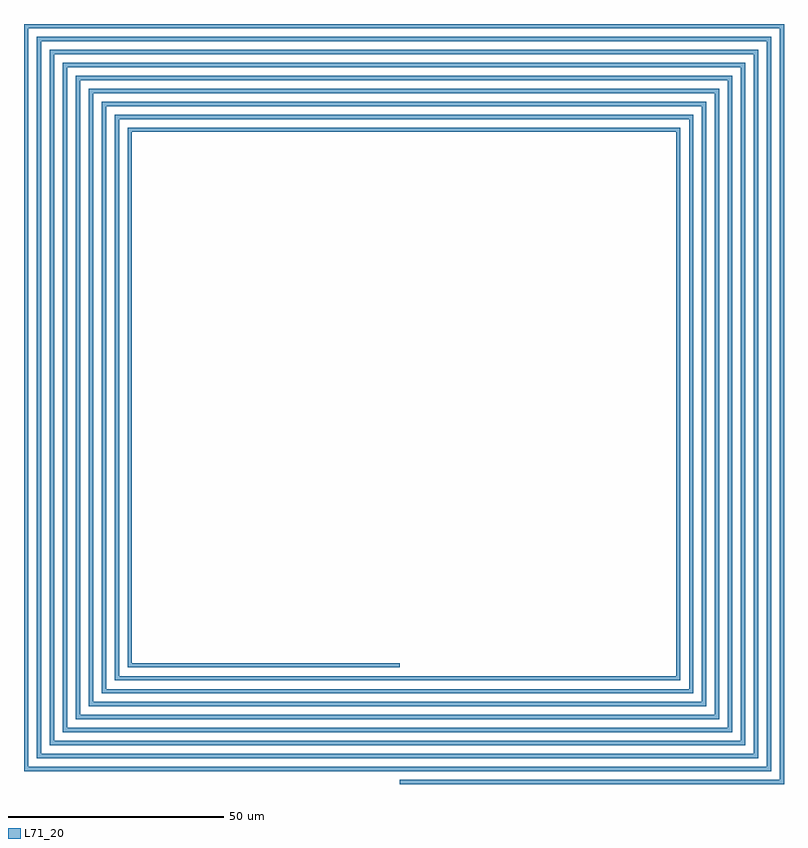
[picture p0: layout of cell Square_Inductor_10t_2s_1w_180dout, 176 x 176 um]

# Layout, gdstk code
import gdstk
lib = gdstk.Library(unit=1e-6, precision=1e-09)
def R(c, l, rs):  # rectangles x0, y0, x1, y1
    for r in rs: c.add(gdstk.rectangle(r[:2], r[2:], *l))
L71_20 = (71, 20)

square_inductor_10t_2s_1 = lib.new_cell('Square_Inductor_10t_2s_1w_180dout')
R(square_inductor_10t_2s_1, L71_20, [(61.7,-26.9,150.7,-25.9), (149.7,-25.9,150.7,148.1), (-25.3,-23.9,147.7,-22.9), (-25.3,-22.9,-24.3,148.1), (146.7,-22.9,147.7,145.1), (-22.3,-20.9,144.7,-19.9), (-22.3,-19.9,-21.3,145.1), (143.7,-19.9,144.7,142.1), (-19.3,-17.9,141.7,-16.9), (-19.3,-16.9,-18.3,142.1), (140.7,-16.9,141.7,139.1), (-16.3,-14.9,138.7,-13.9), (-16.3,-13.9,-15.3,139.1), (137.7,-13.9,138.7,136.1), (-13.3,-11.9,135.7,-10.9), (-13.3,-10.9,-12.3,136.1), (134.7,-10.9,135.7,133.1), (-10.3,-8.9,132.7,-7.9), (-10.3,-7.9,-9.3,133.1), (131.7,-7.9,132.7,130.1), (-7.3,-5.9,129.7,-4.9), (-7.3,-4.9,-6.3,130.1), (128.7,-4.9,129.7,127.1), (-4.3,-2.9,126.7,-1.9), (-4.3,-1.9,-3.3,127.1), (125.7,-1.9,126.7,124.1), (-1.3,0.1,61.7,1.1), (-1.3,1.1,-0.3,124.1), (-1.3,124.1,126.7,125.1), (-4.3,127.1,129.7,128.1), (-7.3,130.1,132.7,131.1), (-10.3,133.1,135.7,134.1), (-13.3,136.1,138.7,137.1), (-16.3,139.1,141.7,140.1), (-19.3,142.1,144.7,143.1), (-22.3,145.1,147.7,146.1), (-25.3,148.1,150.7,149.1)])

lib.write_gds('Square_Inductor_10t_2s_1w_180dout.gds')
